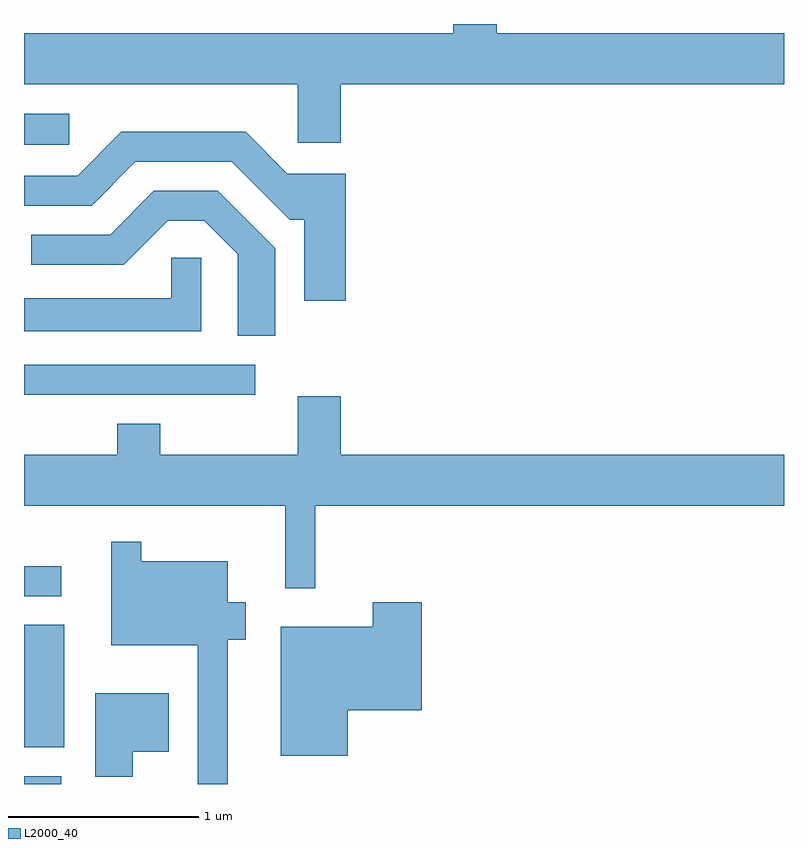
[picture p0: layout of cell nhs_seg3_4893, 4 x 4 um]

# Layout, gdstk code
import gdstk
lib = gdstk.Library(unit=1e-6, precision=1e-09)
def R(c, l, rs):  # rectangles x0, y0, x1, y1
    for r in rs: c.add(gdstk.rectangle(r[:2], r[2:], *l))
def P(c, l, *ps):  # polygons
    for p in ps: c.add(gdstk.Polygon(p, *l))
L2000_40 = (2000, 40)

nhs_seg3_4893 = lib.new_cell('nhs_seg3_4893')
R(nhs_seg3_4893, L2000_40, [(329.611,1117.892,329.808,1117.934), (329.611,1118.086,329.824,1118.729), (329.611,1118.881,329.808,1119.039), (329.611,1119.941,330.828,1120.099), (329.611,1121.256,329.848,1121.419)])
P(nhs_seg3_4893, L2000_40, [(331.279,1121.576),(333.611,1121.576),(333.611,1121.844),(332.099,1121.844),(332.099,1121.892),(331.871,1121.892),(331.871,1121.844),(329.611,1121.844),(329.611,1121.576),(331.051,1121.576),(331.051,1121.266),(331.279,1121.266)],
  [(331.304,1121.104),(330.997,1121.104),(330.777,1121.324),(330.124,1121.324),(329.894,1121.094),(329.611,1121.094),(329.611,1120.936),(329.967,1120.936),(330.197,1121.166),(330.704,1121.166),(331.009,1120.861),(331.086,1120.861),(331.086,1120.436),(331.304,1120.436)],
  [(330.934,1120.712),(330.632,1121.014),(330.294,1121.014),(330.064,1120.784),(329.648,1120.784),(329.648,1120.626),(330.137,1120.626),(330.367,1120.856),(330.559,1120.856),(330.736,1120.679),(330.736,1120.251),(330.934,1120.251)],
  [(330.544,1120.663),(330.386,1120.663),(330.386,1120.449),(329.611,1120.449),(329.611,1120.276),(330.544,1120.276)],
  [(331.144,1119.356),(333.611,1119.356),(333.611,1119.624),(331.279,1119.624),(331.279,1119.934),(331.051,1119.934),(331.051,1119.624),(330.329,1119.624),(330.329,1119.789),(330.101,1119.789),(330.101,1119.624),(329.611,1119.624),(329.611,1119.356),(330.986,1119.356),(330.986,1118.923),(331.144,1118.923)],
  [(330.684,1118.651),(330.779,1118.651),(330.779,1118.849),(330.684,1118.849),(330.684,1119.064),(330.229,1119.064),(330.229,1119.168),(330.071,1119.168),(330.071,1118.621),(330.526,1118.621),(330.526,1117.892),(330.684,1117.892)],
  [(331.314,1118.281),(331.704,1118.281),(331.704,1118.849),(331.446,1118.849),(331.446,1118.719),(330.961,1118.719),(330.961,1118.041),(331.314,1118.041)],
  [(330.184,1118.061),(330.374,1118.061),(330.374,1118.369),(329.986,1118.369),(329.986,1117.931),(330.184,1117.931)])

lib.write_gds('nhs_seg3_4893.gds')
